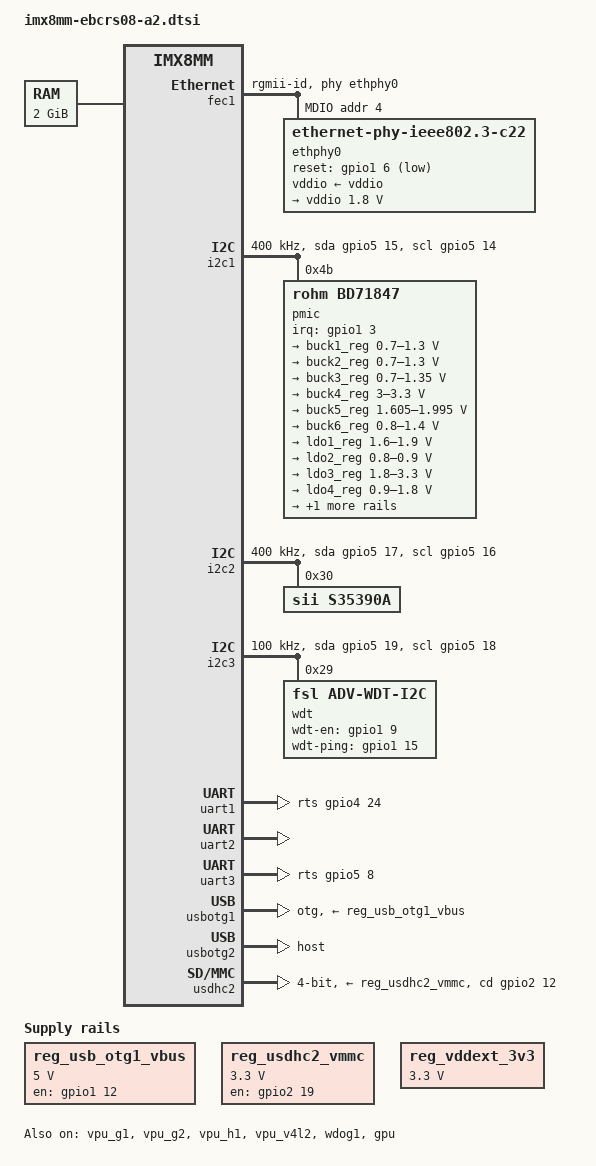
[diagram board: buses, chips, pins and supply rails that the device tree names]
// SPDX-License-Identifier: (GPL-2.0+ OR MIT)
/*
 * Copyright 2020 NXP
 */

/dts-v1/;

#include <dt-bindings/phy/phy-imx8-pcie.h>
#include <dt-bindings/usb/pd.h>
#include "imx8mm.dtsi"

/ {
	chosen {
		stdout-path = &uart2;
	};

	memory@40000000 {
		device_type = "memory";
		reg = <0x0 0x40000000 0 0x80000000>;
	};

	reg_usb_otg1_vbus: regulator-vbus {
		compatible = "regulator-fixed";
		regulator-name = "usb_otg1_vbus";
		regulator-min-microvolt = <5000000>;
		regulator-max-microvolt = <5000000>;
		gpio = <&gpio1 12 GPIO_ACTIVE_HIGH>;
		enable-active-high;
	};

	reg_usdhc2_vmmc: regulator-usdhc2 {
		compatible = "regulator-fixed";
		pinctrl-names = "default";
		pinctrl-0 = <&pinctrl_reg_usdhc2_vmmc>;
		regulator-name = "VSD_3V3";
		regulator-min-microvolt = <3300000>;
		regulator-max-microvolt = <3300000>;
		gpio = <&gpio2 19 GPIO_ACTIVE_HIGH>;
		off-on-delay-us = <20000>;
		enable-active-high;
	};

	reg_vddext_3v3: regulator-vddext-3v3 {
		compatible = "regulator-fixed";
		regulator-name = "VDDEXT_3V3";
		regulator-min-microvolt = <3300000>;
		regulator-max-microvolt = <3300000>;
	};
};

&A53_0 {
	cpu-supply = <&buck2_reg>;
};

&A53_1 {
	cpu-supply = <&buck2_reg>;
};

&A53_2 {
	cpu-supply = <&buck2_reg>;
};

&A53_3 {
	cpu-supply = <&buck2_reg>;
};

&fec1 {
	pinctrl-names = "default";
	pinctrl-0 = <&pinctrl_fec1>;
	phy-mode = "rgmii-id";
	phy-handle = <&ethphy0>;
	fsl,magic-packet;
	status = "okay";

	mdio {
		#address-cells = <1>;
		#size-cells = <0>;

		ethphy0: ethernet-phy@0 {
			compatible = "ethernet-phy-ieee802.3-c22";
			reg = <4>;
			reset-gpios = <&gpio1 6 GPIO_ACTIVE_LOW>;
			reset-assert-us = <10000>;
			reset-deassert-us = <80000>;
			realtek,aldps-enable;
			realtek,clkout-disable;
			qca,disable-smarteee;
			vddio-supply = <&vddio>;

			vddio: vddio-regulator {
				regulator-min-microvolt = <1800000>;
				regulator-max-microvolt = <1800000>;
			};
		};
	};
};

&i2c1 {
	clock-frequency = <400000>;
	pinctrl-names = "default";
	pinctrl-0 = <&pinctrl_i2c1>;
	pinctrl-1 = <&pinctrl_i2c1_gpio>;
	scl-gpios = <&gpio5 14 GPIO_ACTIVE_HIGH>;
	sda-gpios = <&gpio5 15 GPIO_ACTIVE_HIGH>;
	status = "okay";

	pmic@4b {
		compatible = "rohm,bd71847";
		reg = <0x4b>;
		pinctrl-0 = <&pinctrl_pmic>;
		interrupt-parent = <&gpio1>;
		interrupts = <3 GPIO_ACTIVE_LOW>;
		rohm,reset-snvs-powered;

		regulators {
			buck1_reg: BUCK1 {
				regulator-name = "BUCK1";
				regulator-min-microvolt = <700000>;
				regulator-max-microvolt = <1300000>;
				regulator-boot-on;
				regulator-always-on;
				regulator-ramp-delay = <1250>;
			};

			buck2_reg: BUCK2 {
				regulator-name = "BUCK2";
				regulator-min-microvolt = <700000>;
				regulator-max-microvolt = <1300000>;
				regulator-boot-on;
				regulator-always-on;
				regulator-ramp-delay = <1250>;
				rohm,dvs-run-voltage = <1000000>;
				rohm,dvs-idle-voltage = <900000>;
			};

			buck3_reg: BUCK3 {
				// BUCK5 in datasheet
				regulator-name = "BUCK3";
				regulator-min-microvolt = <700000>;
				regulator-max-microvolt = <1350000>;
				regulator-boot-on;
				regulator-always-on;
			};

			buck4_reg: BUCK4 {
				// BUCK6 in datasheet
				regulator-name = "BUCK4";
				regulator-min-microvolt = <3000000>;
				regulator-max-microvolt = <3300000>;
				regulator-boot-on;
				regulator-always-on;
			};

			buck5_reg: BUCK5 {
				// BUCK7 in datasheet
				regulator-name = "BUCK5";
				regulator-min-microvolt = <1605000>;
				regulator-max-microvolt = <1995000>;
				regulator-boot-on;
				regulator-always-on;
			};

			buck6_reg: BUCK6 {
				// BUCK8 in datasheet
				regulator-name = "BUCK6";
				regulator-min-microvolt = <800000>;
				regulator-max-microvolt = <1400000>;
				regulator-boot-on;
				regulator-always-on;
			};

			ldo1_reg: LDO1 {
				regulator-name = "LDO1";
				regulator-min-microvolt = <1600000>;
				regulator-max-microvolt = <1900000>;
				regulator-boot-on;
				regulator-always-on;
			};

			ldo2_reg: LDO2 {
				regulator-name = "LDO2";
				regulator-min-microvolt = <800000>;
				regulator-max-microvolt = <900000>;
				regulator-boot-on;
				regulator-always-on;
			};

			ldo3_reg: LDO3 {
				regulator-name = "LDO3";
				regulator-min-microvolt = <1800000>;
				regulator-max-microvolt = <3300000>;
				regulator-boot-on;
				regulator-always-on;
			};

			ldo4_reg: LDO4 {
				regulator-name = "LDO4";
				regulator-min-microvolt = <900000>;
				regulator-max-microvolt = <1800000>;
				regulator-boot-on;
				regulator-always-on;
			};

			ldo6_reg: LDO6 {
				regulator-name = "LDO6";
				regulator-min-microvolt = <900000>;
				regulator-max-microvolt = <1800000>;
				regulator-boot-on;
				regulator-always-on;
			};
		};
	};
};

&i2c2 {
	clock-frequency = <400000>;
	pinctrl-names = "default", "gpio";
	pinctrl-0 = <&pinctrl_i2c2>;
	pinctrl-1 = <&pinctrl_i2c2_gpio>;
	scl-gpios = <&gpio5 16 GPIO_ACTIVE_HIGH>;
	sda-gpios = <&gpio5 17 GPIO_ACTIVE_HIGH>;
	status = "okay";

	s35390a: s35390a@30 {
		 compatible = "sii,s35390a";
		 reg = <0x30>;
		status = "okay";
	};
};

&i2c3 {
	clock-frequency = <100000>;
	pinctrl-names = "default", "gpio";
	pinctrl-0 = <&pinctrl_i2c3>;
	pinctrl-1 = <&pinctrl_i2c3_gpio>;
	scl-gpios = <&gpio5 18 GPIO_ACTIVE_HIGH>;
	sda-gpios = <&gpio5 19 GPIO_ACTIVE_HIGH>;
	status = "okay";


	wdt@29 {
		compatible = "fsl,adv-wdt-i2c";
		pinctrl-names = "default";
		pinctrl-0 = <&pinctrl_wdt_en_1 &pinctrl_wdt_ping_1>;
		status = "okay";
		wdt-en = <&gpio1 9 0>;
		wdt-ping = <&gpio1 15 0>;
		reg = <0x29>;
	};
};

&uart1 { /* BT */
	pinctrl-names = "default";
	pinctrl-0 = <&pinctrl_uart1>;
	/*fsl,uart-has-rtscts;*/
	rts-gpios = <&gpio4 24 GPIO_ACTIVE_HIGH>;
	linux,rs485-enabled-at-boot-time;
	status = "okay";
};

&uart2 { /* console */
	pinctrl-names = "default";
	pinctrl-0 = <&pinctrl_uart2>;
	status = "okay";
};

&uart3 {
	pinctrl-names = "default";
	pinctrl-0 = <&pinctrl_uart3>;
	/*fsl,uart-has-rtscts;*/
	rts-gpios = <&gpio5 8 GPIO_ACTIVE_HIGH>;
	linux,rs485-enabled-at-boot-time;
	status = "okay";
};

&usbphynop1 {
	wakeup-source;
};

&usbotg1 {
	pinctrl-names = "default";
	pinctrl-0 = <&pinctrl_usbotg>;
	dr_mode = "otg";
	extcon = <0>;
	vbus-supply = <&reg_usb_otg1_vbus>;
	disable-over-current;
	samsung,picophy-pre-emp-curr-control = <3>;
	samsung,picophy-dc-vol-level-adjust = <7>;
	status = "okay";
};

&usbotg2 {
	dr_mode = "host";
	status = "okay";
};

&usdhc2 {
	assigned-clocks = <&clk IMX8MM_CLK_USDHC2>;
	assigned-clock-rates = <200000000>;
	pinctrl-names = "default", "state_100mhz", "state_200mhz";
	pinctrl-0 = <&pinctrl_usdhc2>, <&pinctrl_usdhc2_gpio>;
	pinctrl-1 = <&pinctrl_usdhc2_100mhz>, <&pinctrl_usdhc2_gpio>;
	pinctrl-2 = <&pinctrl_usdhc2_200mhz>, <&pinctrl_usdhc2_gpio>;
	cd-gpios = <&gpio2 12 GPIO_ACTIVE_HIGH>;
	/*wp-gpios = <&gpio2 20 GPIO_ACTIVE_HIGH>;*/
	no-1-8-v;
	max-frequency = <50000000>;
	bus-width = <4>;
	vmmc-supply = <&reg_usdhc2_vmmc>;
	status = "okay";
};

&vpu_g1 {
	status = "okay";
};

&vpu_g2 {
	status = "okay";
};

&vpu_h1 {
	status = "okay";
};

&vpu_v4l2 {
	status = "okay";
};

&wdog1 {
	pinctrl-names = "default";
	pinctrl-0 = <&pinctrl_wdog>;
	fsl,ext-reset-output;
	status = "okay";
};

&gpu {
	status = "okay";
};

&iomuxc {

	pinctrl_fec1: fec1grp {
		fsl,pins = <
			MX8MM_IOMUXC_ENET_MDC_ENET1_MDC			0x3
			MX8MM_IOMUXC_ENET_MDIO_ENET1_MDIO		0x3
			MX8MM_IOMUXC_ENET_TD3_ENET1_RGMII_TD3		0x1f
			MX8MM_IOMUXC_ENET_TD2_ENET1_RGMII_TD2		0x1f
			MX8MM_IOMUXC_ENET_TD1_ENET1_RGMII_TD1		0x1f
			MX8MM_IOMUXC_ENET_TD0_ENET1_RGMII_TD0		0x1f
			MX8MM_IOMUXC_ENET_RD3_ENET1_RGMII_RD3		0x91
			MX8MM_IOMUXC_ENET_RD2_ENET1_RGMII_RD2		0x91
			MX8MM_IOMUXC_ENET_RD1_ENET1_RGMII_RD1		0x91
			MX8MM_IOMUXC_ENET_RD0_ENET1_RGMII_RD0		0x91
			MX8MM_IOMUXC_ENET_TXC_ENET1_RGMII_TXC		0x1f
			MX8MM_IOMUXC_ENET_RXC_ENET1_RGMII_RXC		0x91
			MX8MM_IOMUXC_ENET_RX_CTL_ENET1_RGMII_RX_CTL	0x91
			MX8MM_IOMUXC_ENET_TX_CTL_ENET1_RGMII_TX_CTL	0x1f
			MX8MM_IOMUXC_GPIO1_IO06_GPIO1_IO6		0x19	/* RGMII0_INT# */
		>;
	};

	pinctrl_i2c1: i2c1grp {
		fsl,pins = <
			MX8MM_IOMUXC_I2C1_SCL_I2C1_SCL			0x400001c3
			MX8MM_IOMUXC_I2C1_SDA_I2C1_SDA			0x400001c3
		>;
	};

	pinctrl_i2c1_gpio: i2c1_gpio_grp {
		fsl,pins = <
			MX8MM_IOMUXC_I2C1_SCL_GPIO5_IO14		0x19
			MX8MM_IOMUXC_I2C1_SDA_GPIO5_IO15		0x19
		>;
	};

	pinctrl_i2c2: i2c2grp {
		fsl,pins = <
			MX8MM_IOMUXC_I2C2_SCL_I2C2_SCL			0x400001c3
			MX8MM_IOMUXC_I2C2_SDA_I2C2_SDA			0x400001c3
		>;
	};

	pinctrl_i2c2_gpio: i2c2_gpio_grp {
		fsl,pins = <
			MX8MM_IOMUXC_I2C2_SCL_GPIO5_IO16		0x19
			MX8MM_IOMUXC_I2C2_SDA_GPIO5_IO17		0x19
		>;
	};

	pinctrl_i2c3: i2c3grp {
		fsl,pins = <
			MX8MM_IOMUXC_I2C3_SCL_I2C3_SCL			0x400001c3
			MX8MM_IOMUXC_I2C3_SDA_I2C3_SDA			0x400001c3
		>;
	};

	pinctrl_i2c3_gpio: i2c3_gpio_grp {
		fsl,pins = <
			MX8MM_IOMUXC_I2C3_SCL_GPIO5_IO18		0x19
			MX8MM_IOMUXC_I2C3_SDA_GPIO5_IO19		0x19
		>;
	};

	pinctrl_pmic: pmicirqgrp {
		fsl,pins = <
			MX8MM_IOMUXC_GPIO1_IO03_GPIO1_IO3		0x141
		>;
	};

	pinctrl_reg_usdhc2_vmmc: regusdhc2vmmcgrp {
		fsl,pins = <
			MX8MM_IOMUXC_SD2_RESET_B_GPIO2_IO19	0x41
		>;
	};

	pinctrl_sai1: sai1grp {
		fsl,pins = <
			MX8MM_IOMUXC_SAI1_MCLK_SAI1_MCLK	0xd6
			MX8MM_IOMUXC_SAI1_TXFS_SAI1_TX_SYNC	0xd6
			MX8MM_IOMUXC_SAI1_RXD7_SAI1_TX_SYNC	0xd6
			MX8MM_IOMUXC_SAI1_TXC_SAI1_TX_BCLK	0xd6
			MX8MM_IOMUXC_SAI1_TXD0_SAI1_TX_DATA0	0xd6
			MX8MM_IOMUXC_SAI1_TXD1_SAI1_TX_DATA1	0xd6
			MX8MM_IOMUXC_SAI1_TXD2_SAI1_TX_DATA2	0xd6
			MX8MM_IOMUXC_SAI1_TXD3_SAI1_TX_DATA3	0xd6
			MX8MM_IOMUXC_SAI1_TXD4_SAI1_TX_DATA4	0xd6
			MX8MM_IOMUXC_SAI1_TXD5_SAI1_TX_DATA5	0xd6
			MX8MM_IOMUXC_SAI1_TXD6_SAI1_TX_DATA6	0xd6
			MX8MM_IOMUXC_SAI1_TXD7_SAI1_TX_DATA7	0xd6
		>;
	};

	pinctrl_uart1: uart1grp {
		fsl,pins = <
			MX8MM_IOMUXC_SAI2_RXC_UART1_DCE_RX     0x140
			MX8MM_IOMUXC_SAI2_RXFS_UART1_DCE_TX     0x140
			MX8MM_IOMUXC_SAI2_RXD0_UART1_DCE_RTS_B  0x140
			MX8MM_IOMUXC_SAI2_TXFS_GPIO4_IO24  0x146
		>;
	};

	pinctrl_uart2: uart2grp {
		fsl,pins = <
			MX8MM_IOMUXC_SAI3_TXC_UART2_DCE_TX	0x140
			MX8MM_IOMUXC_SAI3_TXFS_UART2_DCE_RX	0x140
		>;
	};

	pinctrl_uart3: uart3grp {
		fsl,pins = <
			MX8MM_IOMUXC_UART3_RXD_UART3_DCE_RX           0x140
			MX8MM_IOMUXC_UART3_TXD_UART3_DCE_TX           0x140
			MX8MM_IOMUXC_ECSPI1_SS0_UART3_DCE_RTS_B         0x146
			MX8MM_IOMUXC_ECSPI1_MISO_GPIO5_IO8        0x146
		>;
	};

	pinctrl_usdhc2_gpio: usdhc2grpgpiogrp {
		fsl,pins = <
			MX8MM_IOMUXC_SD2_CD_B_GPIO2_IO12	0x159	/* SD2_CD */
			MX8MM_IOMUXC_SD2_WP_GPIO2_IO20		0x159	/* SD2_WP */
		>;
	};

	pinctrl_usdhc2: usdhc2grp {
		fsl,pins = <
			MX8MM_IOMUXC_SD2_CLK_USDHC2_CLK		0x190
			MX8MM_IOMUXC_SD2_CMD_USDHC2_CMD		0x1d0
			MX8MM_IOMUXC_SD2_DATA0_USDHC2_DATA0	0x1d0
			MX8MM_IOMUXC_SD2_DATA1_USDHC2_DATA1	0x1d0
			MX8MM_IOMUXC_SD2_DATA2_USDHC2_DATA2	0x1d0
			MX8MM_IOMUXC_SD2_DATA3_USDHC2_DATA3	0x1d0
			MX8MM_IOMUXC_GPIO1_IO04_USDHC2_VSELECT	0x1d0
		>;
	};

	pinctrl_usdhc2_100mhz: usdhc2-100mhzgrp {
		fsl,pins = <
			MX8MM_IOMUXC_SD2_CLK_USDHC2_CLK		0x194
			MX8MM_IOMUXC_SD2_CMD_USDHC2_CMD		0x1d4
			MX8MM_IOMUXC_SD2_DATA0_USDHC2_DATA0	0x1d4
			MX8MM_IOMUXC_SD2_DATA1_USDHC2_DATA1	0x1d4
			MX8MM_IOMUXC_SD2_DATA2_USDHC2_DATA2	0x1d4
			MX8MM_IOMUXC_SD2_DATA3_USDHC2_DATA3	0x1d4
			MX8MM_IOMUXC_GPIO1_IO04_USDHC2_VSELECT	0x1d0
		>;
	};

	pinctrl_usdhc2_200mhz: usdhc2-200mhzgrp {
		fsl,pins = <
			MX8MM_IOMUXC_SD2_CLK_USDHC2_CLK		0x196
			MX8MM_IOMUXC_SD2_CMD_USDHC2_CMD		0x1d6
			MX8MM_IOMUXC_SD2_DATA0_USDHC2_DATA0	0x1d6
			MX8MM_IOMUXC_SD2_DATA1_USDHC2_DATA1	0x1d6
			MX8MM_IOMUXC_SD2_DATA2_USDHC2_DATA2	0x1d6
			MX8MM_IOMUXC_SD2_DATA3_USDHC2_DATA3	0x1d6
			MX8MM_IOMUXC_GPIO1_IO04_USDHC2_VSELECT	0x1d0
		>;
	};

    pinctrl_usbotg: usbotggrp {
                fsl,pins = <
			MX8MM_IOMUXC_GPIO1_IO12_GPIO1_IO12		0x19	/* USB1_OTG_EN */
                >;
    };

	pinctrl_wdog: wdoggrp {
		fsl,pins = <
			MX8MM_IOMUXC_GPIO1_IO02_WDOG1_WDOG_B	0x166
		>;
	};

    pinctrl_wdt_en_1: wdt_engrp-1 {
                fsl,pins = <
                        MX8MM_IOMUXC_GPIO1_IO09_GPIO1_IO9		0x19    /* WDT_EN */
                >;
    };

    pinctrl_wdt_ping_1: wdt_pinggrp-1 {
                fsl,pins = <
                        MX8MM_IOMUXC_GPIO1_IO15_GPIO1_IO15		0x19    /* WDOG_TRIG */
                        >;
    };
};
